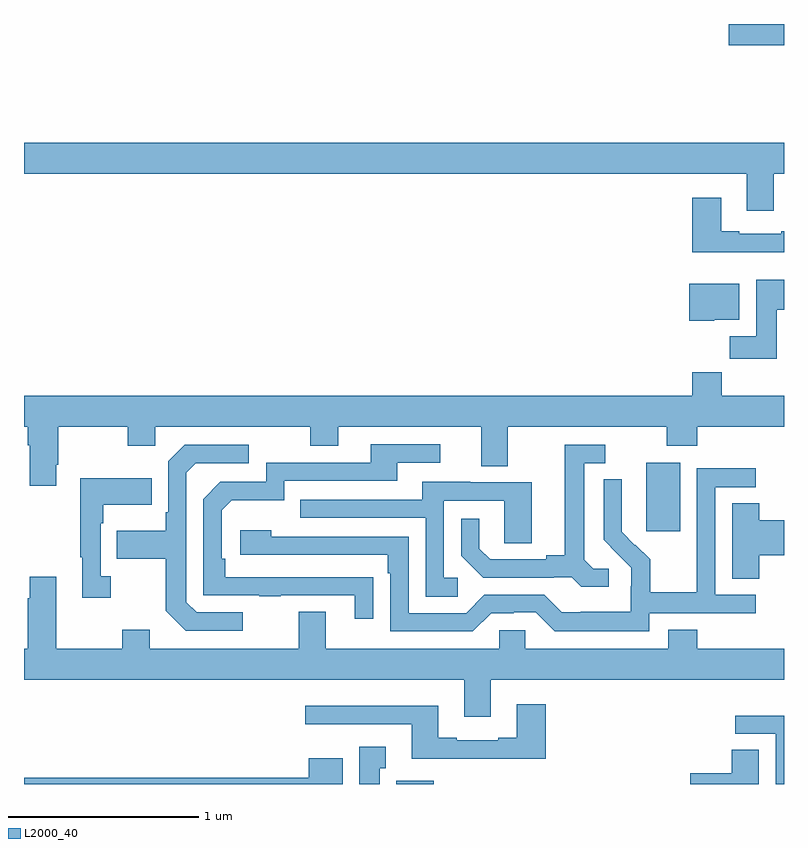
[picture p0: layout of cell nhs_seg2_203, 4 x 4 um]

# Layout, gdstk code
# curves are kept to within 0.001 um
import gdstk
lib = gdstk.Library(unit=1e-6, precision=1e-09)
def R(c, l, rs):  # rectangles x0, y0, x1, y1
    for r in rs: c.add(gdstk.rectangle(r[:2], r[2:], *l))
def P(c, l, *ps):  # polygons
    for p in ps: c.add(gdstk.Polygon(p, *l))
L2000_40 = (2000, 40)

nhs_seg2_203 = lib.new_cell('nhs_seg2_203')
R(nhs_seg2_203, L2000_40, [(122.96,601.8,123.157,601.816), (124.274,603.129,124.453,603.49), (124.71,605.687,125,605.8)])
P(nhs_seg2_203, L2000_40, [(124.945,605.012),(125,605.012),(125,605.176),(121,605.176),(121,605.012),(124.805,605.012),(124.805,604.818),(124.945,604.818)],
  [(125,604.708),(124.985,604.708),(124.985,604.695),(124.765,604.695),(124.765,604.708),(124.669,604.708),(124.669,604.885),(124.517,604.885),(124.517,604.598),(125,604.598)],
  [(124.963,604.297),(125,604.297),(125,604.453),(124.853,604.453),(124.853,604.156),(124.714,604.156),(124.714,604.038),(124.963,604.038)],
  [(124.632,604.244),(124.765,604.244),(124.765,604.432),(124.502,604.432),(124.502,604.238),(124.632,604.238)],
  [(121.171,603.481),(121.179,603.481),(121.179,603.68),(121.546,603.68),(121.546,603.581),(121.692,603.581),(121.692,603.68),(122.506,603.68),(122.506,603.581),(122.653,603.581),(122.653,603.68),(123.407,603.68),(123.407,603.472),(123.547,603.472),(123.547,603.68),(124.384,603.68),(124.384,603.581),(124.544,603.581),(124.544,603.68),(125,603.68),(125,603.844),(124.673,603.844),(124.673,603.968),(124.517,603.968),(124.517,603.844),(121,603.844),(121,603.68),(121.019,603.68),(121.019,603.584),(121.031,603.584),(121.031,603.369),(121.171,603.369)],
  [(122.837,602.888),(122.06,602.889),(122.06,602.986),(122.04,602.986),(122.04,603.24),(122.093,603.293),(122.37,603.293),(122.37,603.396),(122.965,603.396),(122.965,603.492),(123.19,603.492),(123.19,603.588),(122.825,603.588),(122.825,603.492),(122.274,603.492),(122.274,603.39),(122.034,603.39),(121.944,603.3),(121.944,602.793),(122.239,602.793),(122.239,602.788),(122.351,602.788),(122.351,602.793),(122.741,602.793),(122.741,602.67),(122.837,602.67)],
  [(124.078,602.934),(123.996,602.934),(123.949,602.981),(123.949,603.489),(124.06,603.489),(124.06,603.585),(123.845,603.585),(123.845,603.005),(123.749,603.005),(123.749,602.982),(123.454,602.982),(123.397,603.039),(123.397,603.196),(123.3,603.196),(123.3,603.002),(123.416,602.886),(123.788,602.886),(123.788,602.889),(123.882,602.889),(123.934,602.837),(124.078,602.837)],
  [(122.152,602.703),(121.908,602.703),(121.854,602.757),(121.854,603.438),(121.905,603.489),(122.182,603.489),(122.182,603.585),(121.845,603.585),(121.758,603.498),(121.758,603.229),(121.746,603.229),(121.746,603.133),(121.489,603.133),(121.489,602.986),(121.746,602.986),(121.746,602.713),(121.851,602.607),(122.152,602.607)],
  [(124.29,602.7),(124.852,602.7),(124.852,602.796),(124.638,602.796),(124.638,603.363),(124.852,603.363),(124.852,603.462),(124.542,603.462),(124.542,603.032),(124.54,603.032),(124.54,602.809),(124.295,602.809),(124.295,602.983),(124.218,603.06),(124.215,603.057),(124.145,603.128),(124.146,603.404),(124.05,603.404),(124.05,603.086),(124.196,602.938),(124.196,602.841),(124.194,602.841),(124.194,602.707),(123.931,602.707),(123.931,602.703),(123.831,602.703),(123.738,602.796),(123.423,602.796),(123.327,602.7),(123.024,602.7),(123.024,603.102),(122.3,603.102),(122.3,603.136),(122.139,603.136),(122.139,603.006),(122.915,603.006),(122.915,602.909),(122.928,602.909),(122.928,602.604),(123.363,602.604),(123.459,602.7),(123.578,602.7),(123.578,602.703),(123.693,602.703),(123.793,602.603),(124.29,602.603)],
  [(121.456,602.894),(121.404,602.894),(121.404,603.173),(121.417,603.173),(121.417,603.269),(121.673,603.269),(121.673,603.409),(121.296,603.409),(121.296,602.993),(121.307,602.993),(121.307,602.781),(121.456,602.781)],
  [(123.283,602.886),(123.21,602.886),(123.21,603.291),(123.528,603.291),(123.528,603.067),(123.673,603.067),(123.673,603.387),(123.349,603.387),(123.349,603.391),(123.095,603.391),(123.095,603.297),(122.455,603.297),(122.455,603.201),(123.114,603.201),(123.114,602.785),(123.283,602.785)],
  [(124.871,603.005),(125,603.005),(125,603.188),(124.871,603.188),(124.871,603.278),(124.727,603.278),(124.727,602.881),(124.871,602.881)],
  [(123.457,602.348),(125,602.348),(125,602.512),(124.544,602.512),(124.544,602.611),(124.391,602.611),(124.391,602.512),(123.639,602.512),(123.639,602.61),(123.501,602.61),(123.501,602.512),(122.587,602.512),(122.587,602.707),(122.447,602.707),(122.447,602.512),(121.663,602.512),(121.663,602.611),(121.516,602.611),(121.516,602.512),(121.171,602.512),(121.171,602.89),(121.031,602.89),(121.031,602.777),(121.019,602.777),(121.019,602.512),(121,602.512),(121,602.348),(123.317,602.348),(123.317,602.154),(123.457,602.154)],
  [(123.746,602.221),(123.593,602.221),(123.593,602.044),(123.497,602.044),(123.497,602.031),(123.277,602.031),(123.277,602.044),(123.181,602.044),(123.181,602.212),(122.481,602.212),(122.481,602.115),(123.041,602.115),(123.041,601.934),(123.746,601.934)],
  [(125,602.16),(124.743,602.16),(124.743,602.064),(124.956,602.064),(124.956,601.8),(125,601.8)],
  [(122.872,601.883),(122.905,601.883),(122.905,601.996),(122.765,601.996),(122.765,601.8),(122.872,601.8)],
  [(124.867,601.979),(124.724,601.979),(124.724,601.856),(124.506,601.856),(124.506,601.8),(124.867,601.8)],
  [(122.677,601.936),(122.498,601.936),(122.498,601.832),(121,601.832),(121,601.8),(122.677,601.8)])

lib.write_gds('nhs_seg2_203.gds')
